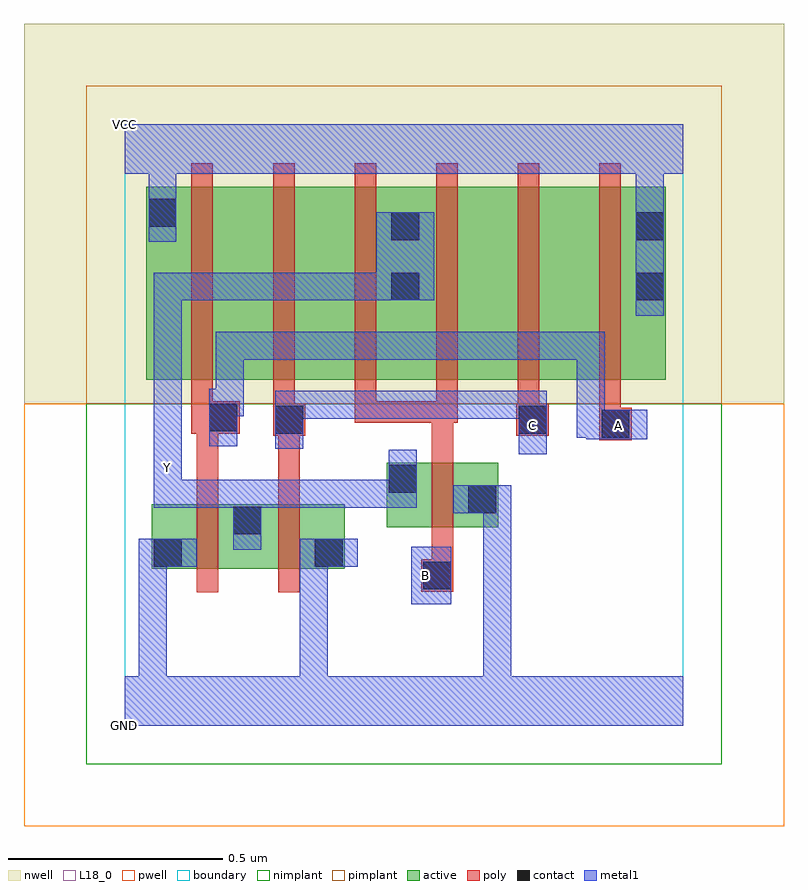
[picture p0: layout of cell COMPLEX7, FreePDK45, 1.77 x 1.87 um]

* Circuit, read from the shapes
.subckt COMPLEX7 A B C GND VCC Y
M1 Y A GND VSUBS nfet w=0.15u l=0.05u
M2 GND C Y VSUBS nfet w=0.15u l=0.05u
M3 GND B Y VSUBS nfet w=0.15u l=0.05u
M4 n1 A VCC n2 pfet w=0.45u l=0.05u
M5 n3 C n1 n2 pfet w=0.45u l=0.05u
M6 Y B n3 n2 pfet w=0.45u l=0.05u
M7 n4 B Y n2 pfet w=0.45u l=0.05u
M8 n5 C n4 n2 pfet w=0.45u l=0.05u
M9 VCC A n5 n2 pfet w=0.45u l=0.05u
.ends

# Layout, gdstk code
import gdstk
lib = gdstk.Library(unit=1e-6, precision=1e-09)
def R(c, l, rs):  # rectangles x0, y0, x1, y1
    for r in rs: c.add(gdstk.rectangle(r[:2], r[2:], *l))
def A(c, l, x, y, w, h, nx, ny, dx, dy):  # array of equal rectangles
    R(c, l, [(x+i*dx, y+j*dy, x+i*dx+w, y+j*dy+h) for i in range(nx) for j in range(ny)])
active = (1, 0)
pwell = (2, 0)
nwell = (3, 0)
nimplant = (4, 0)
pimplant = (5, 0)
poly = (9, 0)
contact = (10, 0)
metal1 = (11, 0)
L18_0 = (18, 0)
boundary = (235, 0)

complex7 = lib.new_cell('COMPLEX7')
R(complex7, active, [(0.062,0.365,0.137,0.515), (0.062,0.365,0.322,0.515), (0.247,0.365,0.512,0.515), (0.437,0.365,0.512,0.497), (0.247,0.422,0.322,0.515), (0.61,0.462,0.685,0.612), (0.61,0.462,0.87,0.612), (0.795,0.462,0.87,0.612), (0.05,0.805,0.125,1.255), (0.05,0.805,0.275,1.255), (0.275,0.805,0.465,1.255), (0.465,0.805,0.69,1.255), (0.615,0.805,0.845,1.255), (0.615,0.805,0.69,1.2), (0.845,0.805,1.035,1.255), (1.035,0.805,1.26,1.255), (1.185,0.805,1.26,1.255)])
R(complex7, pwell, [(-0.235,-0.235,1.535,0.75)])
R(complex7, nwell, [(-0.235,0.75,1.535,1.635)])
R(complex7, nimplant, [(-0.09,-0.09,1.39,0.75)])
R(complex7, pimplant, [(-0.09,0.75,1.39,1.49)])
A(complex7, poly, 0.155, 0.75, 0.05, 0.56, 6, 1, 0.19, 0)
R(complex7, poly, [(0.167,0.31,0.217,0.57), (0.357,0.31,0.407,0.57), (0.69,0.312,0.765,0.387), (0.715,0.337,0.765,0.457), (0.715,0.407,0.765,0.667), (0.167,0.52,0.217,0.73), (0.357,0.52,0.407,0.725), (0.715,0.617,0.765,0.755), (1.105,0.665,1.18,0.74), (0.345,0.675,0.42,0.75), (0.912,0.675,0.987,0.75), (0.155,0.68,0.267,0.755), (1.105,0.69,1.155,0.8), (0.345,0.7,0.395,0.8), (0.915,0.7,0.965,0.8), (0.155,0.705,0.205,0.8), (0.535,0.705,0.585,0.8), (0.535,0.705,0.765,0.755), (0.535,0.705,0.585,0.755), (0.535,0.705,0.585,0.755), (0.535,0.705,0.585,0.755), (0.715,0.705,0.775,0.755), (0.725,0.705,0.775,0.8)])
R(complex7, contact, [(0.695,0.317,0.76,0.382), (0.067,0.37,0.132,0.435), (0.442,0.37,0.507,0.435), (0.252,0.445,0.317,0.51), (0.8,0.495,0.865,0.56), (0.615,0.542,0.68,0.607), (1.11,0.67,1.175,0.735), (0.35,0.68,0.415,0.745), (0.917,0.68,0.982,0.745), (0.197,0.685,0.262,0.75), (0.62,0.99,0.685,1.055), (1.19,0.99,1.255,1.055), (0.62,1.13,0.685,1.195), (1.19,1.13,1.255,1.195), (0.055,1.162,0.12,1.227)])
R(complex7, metal1, [(0,0,1.3,0.115), (0.032,0.05,0.097,0.115), (0.032,0.05,0.097,0.115), (0.032,0.05,0.097,0.115), (0.032,0.05,0.097,0.115), (0.032,0.05,0.097,0.115), (0.032,0.05,0.097,0.115), (0.032,0.05,0.097,0.435), (0.407,0.05,0.472,0.115), (0.407,0.05,0.472,0.115), (0.407,0.05,0.472,0.115), (0.407,0.05,0.472,0.115), (0.407,0.05,0.472,0.435), (0.835,0.05,0.9,0.115), (0.835,0.05,0.9,0.115), (0.835,0.05,0.9,0.115), (0.835,0.05,0.9,0.115), (0.835,0.05,0.9,0.115), (0.835,0.05,0.9,0.115), (0.835,0.05,0.9,0.56), (0.667,0.282,0.76,0.417), (0.032,0.37,0.167,0.435), (0.407,0.37,0.472,0.435), (0.407,0.37,0.472,0.435), (0.407,0.37,0.542,0.435), (0.252,0.41,0.317,0.572), (0.765,0.495,0.9,0.56), (0.067,0.507,0.132,0.572), (0.067,0.507,0.132,0.572), (0.067,0.507,0.132,0.572), (0.067,0.507,0.317,0.572), (0.067,0.507,0.132,0.597), (0.252,0.507,0.455,0.572), (0.39,0.507,0.592,0.572), (0.39,0.507,0.455,0.572), (0.39,0.507,0.455,0.572), (0.39,0.507,0.455,0.572), (0.527,0.507,0.592,0.572), (0.527,0.507,0.68,0.572), (0.615,0.507,0.68,0.642), (0.067,0.532,0.132,0.667), (0.067,0.602,0.132,0.892), (0.917,0.632,0.982,0.78), (0.35,0.645,0.415,0.78), (0.197,0.65,0.262,0.785), (1.075,0.667,1.217,0.735), (1.052,0.67,1.14,0.735), (1.052,0.67,1.117,0.917), (1.052,0.67,1.117,0.735), (0.35,0.715,0.455,0.78), (0.39,0.715,0.592,0.78), (0.39,0.715,0.455,0.78), (0.527,0.715,0.592,0.78), (0.527,0.715,0.61,0.78), (0.545,0.715,0.61,0.78), (0.545,0.715,0.817,0.78), (0.752,0.715,0.817,0.78), (0.752,0.715,0.817,0.78), (0.752,0.715,0.817,0.78), (0.752,0.715,0.982,0.78), (0.197,0.72,0.277,0.785), (0.212,0.72,0.277,0.785), (0.212,0.72,0.277,0.917), (0.067,0.827,0.132,0.892), (0.067,0.827,0.132,1.055), (0.212,0.852,0.277,0.917), (0.212,0.852,0.455,0.917), (0.39,0.852,0.592,0.917), (0.39,0.852,0.455,0.917), (0.39,0.852,0.455,0.917), (0.39,0.852,0.455,0.917), (0.527,0.852,0.592,0.917), (0.527,0.852,0.592,0.917), (0.527,0.852,0.592,0.917), (0.527,0.852,0.842,0.917), (0.777,0.852,0.842,0.917), (0.777,0.852,0.98,0.917), (0.915,0.852,1.117,0.917), (0.915,0.852,0.98,0.917), (0.915,0.852,0.98,0.917), (0.915,0.852,0.98,0.917), (1.052,0.852,1.117,0.917), (1.19,0.955,1.255,1.23), (0.067,0.99,0.132,1.055), (0.067,0.99,0.132,1.055), (0.067,0.99,0.132,1.055), (0.067,0.99,0.27,1.055), (0.205,0.99,0.27,1.055), (0.205,0.99,0.455,1.055), (0.39,0.99,0.592,1.055), (0.39,0.99,0.455,1.055), (0.39,0.99,0.455,1.055), (0.39,0.99,0.455,1.055), (0.527,0.99,0.592,1.055), (0.527,0.99,0.65,1.055), (0.585,0.99,0.72,1.195), (0.055,1.127,0.12,1.262), (1.19,1.165,1.255,1.35), (0.055,1.197,0.12,1.35), (0,1.285,1.3,1.4)])
R(complex7, L18_0, [(0,0,1.3,0.115), (0.032,0.05,0.097,0.115), (0.032,0.05,0.097,0.115), (0.032,0.05,0.097,0.115), (0.032,0.05,0.097,0.115), (0.032,0.05,0.097,0.115), (0.032,0.05,0.097,0.115), (0.032,0.05,0.097,0.435), (0.407,0.05,0.472,0.115), (0.407,0.05,0.472,0.115), (0.407,0.05,0.472,0.115), (0.407,0.05,0.472,0.115), (0.407,0.05,0.472,0.435), (0.835,0.05,0.9,0.115), (0.835,0.05,0.9,0.115), (0.835,0.05,0.9,0.115), (0.835,0.05,0.9,0.115), (0.835,0.05,0.9,0.115), (0.835,0.05,0.9,0.115), (0.835,0.05,0.9,0.56), (0.667,0.282,0.76,0.417), (0.667,0.317,0.732,0.382), (0.032,0.37,0.167,0.435), (0.407,0.37,0.472,0.435), (0.407,0.37,0.472,0.435), (0.407,0.37,0.542,0.435), (0.252,0.41,0.317,0.572), (0.765,0.495,0.9,0.56), (0.067,0.507,0.132,0.572), (0.067,0.507,0.132,0.572), (0.067,0.507,0.132,0.572), (0.067,0.507,0.132,0.597), (0.067,0.507,0.317,0.572), (0.252,0.507,0.455,0.572), (0.39,0.507,0.455,0.572), (0.39,0.507,0.455,0.572), (0.39,0.507,0.455,0.572), (0.39,0.507,0.592,0.572), (0.527,0.507,0.592,0.572), (0.527,0.507,0.68,0.572), (0.615,0.507,0.68,0.642), (0.067,0.532,0.132,0.667), (0.067,0.567,0.132,0.632), (0.067,0.602,0.132,0.892), (0.917,0.632,0.982,0.78), (0.35,0.645,0.415,0.78), (0.197,0.65,0.262,0.785), (0.917,0.667,0.982,0.732), (1.075,0.667,1.217,0.735), (1.117,0.667,1.182,0.732), (1.052,0.67,1.117,0.735), (1.052,0.67,1.117,0.917), (1.052,0.67,1.14,0.735), (0.35,0.715,0.455,0.78), (0.39,0.715,0.455,0.78), (0.39,0.715,0.592,0.78), (0.527,0.715,0.592,0.78), (0.527,0.715,0.61,0.78), (0.545,0.715,0.61,0.78), (0.545,0.715,0.817,0.78), (0.752,0.715,0.817,0.78), (0.752,0.715,0.817,0.78), (0.752,0.715,0.817,0.78), (0.752,0.715,0.982,0.78), (0.197,0.72,0.277,0.785), (0.212,0.72,0.277,0.785), (0.212,0.72,0.277,0.917), (0.067,0.827,0.132,0.892), (0.067,0.827,0.132,1.055), (0.212,0.852,0.277,0.917), (0.212,0.852,0.455,0.917), (0.39,0.852,0.455,0.917), (0.39,0.852,0.455,0.917), (0.39,0.852,0.455,0.917), (0.39,0.852,0.592,0.917), (0.527,0.852,0.592,0.917), (0.527,0.852,0.592,0.917), (0.527,0.852,0.592,0.917), (0.527,0.852,0.842,0.917), (0.777,0.852,0.842,0.917), (0.777,0.852,0.98,0.917), (0.915,0.852,0.98,0.917), (0.915,0.852,0.98,0.917), (0.915,0.852,0.98,0.917), (0.915,0.852,1.117,0.917), (1.052,0.852,1.117,0.917), (1.19,0.955,1.255,1.23), (0.067,0.99,0.132,1.055), (0.067,0.99,0.132,1.055), (0.067,0.99,0.132,1.055), (0.067,0.99,0.27,1.055), (0.205,0.99,0.27,1.055), (0.205,0.99,0.455,1.055), (0.39,0.99,0.455,1.055), (0.39,0.99,0.455,1.055), (0.39,0.99,0.455,1.055), (0.39,0.99,0.592,1.055), (0.527,0.99,0.592,1.055), (0.527,0.99,0.65,1.055), (0.585,0.99,0.72,1.195), (0.055,1.127,0.12,1.262), (1.19,1.165,1.255,1.35), (0.055,1.197,0.12,1.35), (0,1.285,1.3,1.4)])
R(complex7, boundary, [(0,0,1.3,1.4)])
complex7.add(gdstk.Label('A', (1.15,0.7), layer=11, texttype=0))
complex7.add(gdstk.Label('B', (0.7,0.35), layer=11, texttype=0))
complex7.add(gdstk.Label('C', (0.95,0.7), layer=11, texttype=0))
complex7.add(gdstk.Label('Y', (0.1,0.6), layer=11, texttype=0))
complex7.add(gdstk.Label('VCC', (0,1.4), layer=11, texttype=0))
complex7.add(gdstk.Label('GND', (0,0), layer=11, texttype=0))

lib.write_gds('COMPLEX7.gds')
